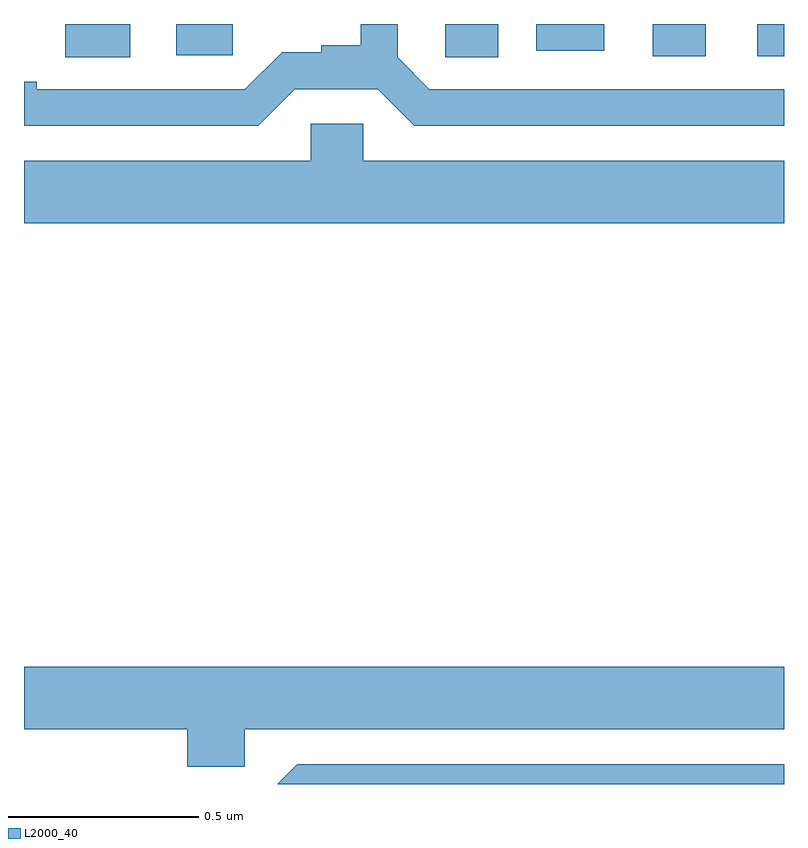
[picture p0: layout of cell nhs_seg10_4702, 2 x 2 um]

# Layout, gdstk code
import gdstk
lib = gdstk.Library(unit=1e-6, precision=1e-09)
def R(c, l, rs):  # rectangles x0, y0, x1, y1
    for r in rs: c.add(gdstk.rectangle(r[:2], r[2:], *l))
def P(c, l, *ps):  # polygons
    for p in ps: c.add(gdstk.Polygon(p, *l))
L2000_40 = (2000, 40)

nhs_seg10_4702 = lib.new_cell('nhs_seg10_4702')
R(nhs_seg10_4702, L2000_40, [(169.109,1307.413,169.279,1307.5), (170.109,1307.413,170.248,1307.5), (170.654,1307.415,170.794,1307.5), (170.93,1307.415,171,1307.5), (169.401,1307.418,169.549,1307.5), (170.348,1307.43,170.527,1307.5)])
P(nhs_seg10_4702, L2000_40, [(169.713,1307.328),(169.931,1307.328),(170.027,1307.232),(171,1307.232),(171,1307.328),(170.067,1307.328),(169.983,1307.412),(169.983,1307.5),(169.886,1307.5),(169.886,1307.444),(169.782,1307.444),(169.782,1307.426),(169.679,1307.426),(169.581,1307.328),(169.033,1307.328),(169.033,1307.348),(169,1307.348),(169,1307.232),(169.617,1307.232)],
  [(171,1307.14),(169.893,1307.14),(169.893,1307.238),(169.755,1307.238),(169.755,1307.14),(169,1307.14),(169,1306.976),(171,1306.976)],
  [(169.581,1305.644),(171,1305.644),(171,1305.808),(169,1305.808),(169,1305.644),(169.43,1305.644),(169.43,1305.546),(169.581,1305.546)],
  [(171,1305.552),(169.719,1305.552),(169.667,1305.5),(171,1305.5)])

lib.write_gds('nhs_seg10_4702.gds')
